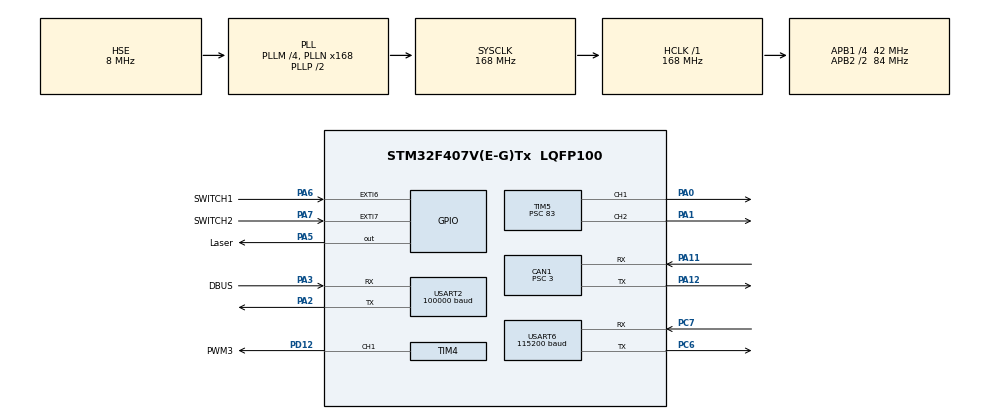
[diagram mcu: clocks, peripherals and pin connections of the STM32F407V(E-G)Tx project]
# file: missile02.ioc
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CAN1.BS1=CAN_BS1_10TQ
CAN1.BS2=CAN_BS2_3TQ
CAN1.CalculateTimeQuantum=71.42857142857143
CAN1.Prescaler=3
Dma.Request0=USART6_RX
Dma.Request1=USART2_RX
Dma.USART2_RX.1.Direction=DMA_PERIPH_TO_MEMORY
Dma.USART2_RX.1.FIFOMode=DMA_FIFOMODE_DISABLE
Dma.USART2_RX.1.Instance=DMA1_Stream5
Dma.USART2_RX.1.MemDataAlignment=DMA_MDATAALIGN_BYTE
Dma.USART2_RX.1.MemInc=DMA_MINC_ENABLE
Dma.USART2_RX.1.Mode=DMA_CIRCULAR
Dma.USART2_RX.1.PeriphDataAlignment=DMA_PDATAALIGN_BYTE
Dma.USART2_RX.1.PeriphInc=DMA_PINC_DISABLE
Dma.USART2_RX.1.Priority=DMA_PRIORITY_HIGH
Dma.USART6_RX.0.Direction=DMA_PERIPH_TO_MEMORY
Dma.USART6_RX.0.FIFOMode=DMA_FIFOMODE_DISABLE
Dma.USART6_RX.0.Instance=DMA2_Stream1
Dma.USART6_RX.0.MemDataAlignment=DMA_MDATAALIGN_BYTE
Dma.USART6_RX.0.MemInc=DMA_MINC_ENABLE
Dma.USART6_RX.0.Mode=DMA_CIRCULAR
Dma.USART6_RX.0.PeriphDataAlignment=DMA_PDATAALIGN_BYTE
Dma.USART6_RX.0.PeriphInc=DMA_PINC_DISABLE
Dma.USART6_RX.0.Priority=DMA_PRIORITY_HIGH
Mcu.Family=STM32F4
Mcu.Name=STM32F407V(E-G)Tx
Mcu.Package=LQFP100
NVIC.DMA1_Stream5_IRQn=true\:0\:0\:false\:false\:true\:false\:true
NVIC.DMA2_Stream1_IRQn=true\:0\:0\:false\:false\:true\:false\:true
NVIC.PriorityGroup=NVIC_PRIORITYGROUP_4
PA0-WKUP.Signal=S_TIM5_CH1
PA1.Signal=S_TIM5_CH2
PA11.Mode=Master
PA11.Signal=CAN1_RX
PA12.Mode=Master
PA12.Signal=CAN1_TX
PA13.Mode=Serial_Wire
PA13.Signal=SYS_JTMS-SWDIO
PA14.Mode=Serial_Wire
PA14.Signal=SYS_JTCK-SWCLK
PA2.Mode=Asynchronous
PA2.Signal=USART2_TX
PA3.GPIO_Label=DBUS
PA3.Mode=Asynchronous
PA3.Signal=USART2_RX
PA5.GPIO_Label=Laser
PA5.Signal=GPIO_Output
PA6.GPIO_Label=SWITCH1
PA6.Signal=GPXTI6
PA7.GPIO_Label=SWITCH2
PA7.Signal=GPXTI7
PC6.Mode=Asynchronous
PC6.Signal=USART6_TX
PC7.Mode=Asynchronous
PC7.Signal=USART6_RX
PD12.GPIO_Label=PWM3
PD12.Signal=S_TIM4_CH1
PH0-OSC_IN.Mode=HSE-External-Oscillator
PH0-OSC_IN.Signal=RCC_OSC_IN
PH1-OSC_OUT.Mode=HSE-External-Oscillator
PH1-OSC_OUT.Signal=RCC_OSC_OUT
ProjectManager.HeapSize=0x200
ProjectManager.StackSize=0x400
ProjectManager.TargetToolchain=MDK-ARM V5
RCC.48MHZClocksFreq_Value=84000000
RCC.AHBFreq_Value=168000000
RCC.APB1CLKDivider=RCC_HCLK_DIV4
RCC.APB1Freq_Value=42000000
RCC.APB1TimFreq_Value=84000000
RCC.APB2CLKDivider=RCC_HCLK_DIV2
RCC.APB2Freq_Value=84000000
RCC.APB2TimFreq_Value=168000000
RCC.CortexFreq_Value=168000000
RCC.HCLKFreq_Value=168000000
RCC.HSE_VALUE=8000000
RCC.HSI_VALUE=16000000
RCC.LSE_VALUE=32768
RCC.PLLM=4
RCC.PLLN=168
RCC.PLLSourceVirtual=RCC_PLLSOURCE_HSE
RCC.SYSCLKFreq_VALUE=168000000
RCC.SYSCLKSource=RCC_SYSCLKSOURCE_PLLCLK
RCC.VCOOutputFreq_Value=336000000
SH.S_TIM4_CH1.0=TIM4_CH1,PWM Generation1 CH1
SH.S_TIM5_CH1.0=TIM5_CH1,PWM Generation1 CH1
SH.S_TIM5_CH2.0=TIM5_CH2,PWM Generation2 CH2
TIM4.AutoReloadPreload=TIM_AUTORELOAD_PRELOAD_ENABLE
TIM4.Channel-PWM\ Generation1\ CH1=TIM_CHANNEL_1
TIM4.OCPolarity_1=TIM_OCPOLARITY_LOW
TIM4.Period=199
TIM4.Prescaler=8399
TIM5.AutoReloadPreload=TIM_AUTORELOAD_PRELOAD_ENABLE
TIM5.Channel-PWM\ Generation1\ CH1=TIM_CHANNEL_1
TIM5.Channel-PWM\ Generation2\ CH2=TIM_CHANNEL_2
TIM5.Period=99
TIM5.Prescaler=83
USART2.BaudRate=100000
USART2.Parity=PARITY_EVEN
USART2.VirtualMode=VM_ASYNC
USART6.BaudRate=115200
USART6.Parity=PARITY_NONE
USART6.VirtualMode=VM_ASYNC
VP_TIM4_VS_ClockSourceINT.Mode=Internal
VP_TIM5_VS_ClockSourceINT.Mode=Internal
board=custom

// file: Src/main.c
/* USER CODE BEGIN Header */
/**
  ******************************************************************************
  * @file           : main.c
  * @brief          : Main program body
  ******************************************************************************
  * @attention
  *
  * <h2><center>&copy; Copyright (c) 2020 STMicroelectronics.
  * All rights reserved.</center></h2>
  *
  * This software component is licensed by ST under BSD 3-Clause license,
  * the "License"; You may not use this file except in compliance with the
  * License. You may obtain a copy of the License at:
  *                        opensource.org/licenses/BSD-3-Clause
  *
  ******************************************************************************
  */
/* USER CODE END Header */

#include "main.h"
#include "can.h"
#include "dma.h"
#include "tim.h"
#include "usart.h"
#include "gpio.h"

/* USER CODE BEGIN Includes */
#include "load_task.h"
#include "remote_control.h"
#include "motor_6020.h"
#include "L298.h"
/* USER CODE END Includes */

/* USER CODE BEGIN PV */
extern uint8_t s1c,s2c;
uint8_t  r0=0,r1=0;//表示右摇杆上次状态，0表示上次居中，1表示上次超过正负临界值，上次为0且本次超值才会转
/* USER CODE END PV */

void SystemClock_Config(void);

/* USER CODE BEGIN 0 */
const RC_ctrl_t *local_rc_ctrl;

//限位开关中断，触发1电机反转，触发2电机停止
void HAL_GPIO_EXTI_Callback(uint16_t GPIO_Pin)
{
    if(GPIO_Pin == SWITCH1_Pin)
    {
        give_current0=-give_current0;//碰到开关1后反转
    }
		else if(GPIO_Pin == SWITCH2_Pin)
    {
        give_current0=0;//碰到开关2后反停止
    }
		else;
}
/* USER CODE END 0 */

int main(void)
{

  /* MCU Configuration--------------------------------------------------------*/

  /* Reset of all peripherals, Initializes the Flash interface and the Systick. */
  HAL_Init();

  /* Configure the system clock */
  SystemClock_Config();

  /* Initialize all configured peripherals */
  MX_GPIO_Init();
  MX_DMA_Init();
  MX_CAN1_Init();
  MX_TIM4_Init();
  MX_TIM5_Init();
  MX_USART2_UART_Init();
  MX_USART6_UART_Init();
  /* USER CODE BEGIN 2 */
remote_control_init();
imu_communication_init();
local_rc_ctrl = get_remote_control_point();
init(&chassis_move[0],1);
init(&chassis_move[1],2);
Servo_Control(35);//舵机位置初始化
MOTOR_6020_Init();//底部方位角初始化
Linear_Init();//仰角初始化
  /* USER CODE END 2 */

  /* Infinite loop */
  /* USER CODE BEGIN WHILE */
  while (1)
  {
		//三位开关S2
		if(s2c==1&&local_rc_ctrl->rc.s[1]==3){
		Fire();
		}
		if(s2c==1&&local_rc_ctrl->rc.s[1]==0){
		Load();
		}

		//三位开关S1
		if(s1c==1){
		if(local_rc_ctrl->rc.s[0]==1){	//复位
			MOTOR_6020_Init();
			Linear_Init();
		}
		if(local_rc_ctrl->rc.s[0]==2){	//前哨站方向
			MOTOR_6020_POS(ROLL_1);
			Linear_Angel(PITCH_1);
		}
		if(local_rc_ctrl->rc.s[0]==3){	//基地方向
			MOTOR_6020_POS(ROLL_2);
			Linear_Angel(PITCH_2);
		}
		}

		//右摇杆
		if(local_rc_ctrl->rc.ch[0]<REMID &&local_rc_ctrl->rc.ch[0]>-REMID){
		r0=0;
		}
		if(r0==0&&local_rc_ctrl->rc.ch[0]>CRITICAL){
		MOTOR_6020_ANGLE(0);//左右需根据实际修改！！同下
		r0=1;
		}
		else if(r0==0&&local_rc_ctrl->rc.ch[0]<-CRITICAL){
		MOTOR_6020_ANGLE(1);
		r0=1;
		}

		if(local_rc_ctrl->rc.ch[1]<REMID &&local_rc_ctrl->rc.ch[1]>-REMID){
		r1=0;
		}
		if(r1==0&&local_rc_ctrl->rc.ch[1]>CRITICAL){
		Linear_Angel(PITCH_FIX);//正负根据实际修改
		r1=1;
		}
		else if(r1==0&&local_rc_ctrl->rc.ch[1]<-CRITICAL){
		Linear_Angel(-PITCH_FIX);
		r1=1;
		}

		//左摇杆
		while(local_rc_ctrl->rc.ch[2]>REMID){
		MOTOR_6020_FIX(1);					//左右需根据实际修改！！同下
		}
		while(local_rc_ctrl->rc.ch[2]<-REMID){
		MOTOR_6020_FIX(0);
		}
		while(local_rc_ctrl->rc.ch[3]>REMID){
		Linear_Speed(PITCH_SPEED);
		}
		while(local_rc_ctrl->rc.ch[3]<-REMID){
		Linear_Speed(-PITCH_SPEED);
		}

    /* USER CODE END WHILE */

  }
}

void SystemClock_Config(void)
{
  RCC_OscInitTypeDef RCC_OscInitStruct = {0};
  RCC_ClkInitTypeDef RCC_ClkInitStruct = {0};

  /** Configure the main internal regulator output voltage
  */
  __HAL_RCC_PWR_CLK_ENABLE();
  __HAL_PWR_VOLTAGESCALING_CONFIG(PWR_REGULATOR_VOLTAGE_SCALE1);
  /** Initializes the CPU, AHB and APB busses clocks
  */
  RCC_OscInitStruct.OscillatorType = RCC_OSCILLATORTYPE_HSE;
  RCC_OscInitStruct.HSEState = RCC_HSE_ON;
  RCC_OscInitStruct.PLL.PLLState = RCC_PLL_ON;
  RCC_OscInitStruct.PLL.PLLSource = RCC_PLLSOURCE_HSE;
  RCC_OscInitStruct.PLL.PLLM = 4;
  RCC_OscInitStruct.PLL.PLLN = 168;
  RCC_OscInitStruct.PLL.PLLP = RCC_PLLP_DIV2;
  RCC_OscInitStruct.PLL.PLLQ = 4;
  if (HAL_RCC_OscConfig(&RCC_OscInitStruct) != HAL_OK)
  {
    Error_Handler();
  }
  /** Initializes the CPU, AHB and APB busses clocks
  */
  RCC_ClkInitStruct.ClockType = RCC_CLOCKTYPE_HCLK|RCC_CLOCKTYPE_SYSCLK
                              |RCC_CLOCKTYPE_PCLK1|RCC_CLOCKTYPE_PCLK2;
  RCC_ClkInitStruct.SYSCLKSource = RCC_SYSCLKSOURCE_PLLCLK;
  RCC_ClkInitStruct.AHBCLKDivider = RCC_SYSCLK_DIV1;
  RCC_ClkInitStruct.APB1CLKDivider = RCC_HCLK_DIV4;
  RCC_ClkInitStruct.APB2CLKDivider = RCC_HCLK_DIV2;

  if (HAL_RCC_ClockConfig(&RCC_ClkInitStruct, FLASH_LATENCY_5) != HAL_OK)
  {
    Error_Handler();
  }
}

void Error_Handler(void)
{
}

/************************ (C) COPYRIGHT STMicroelectronics *****END OF FILE****/
